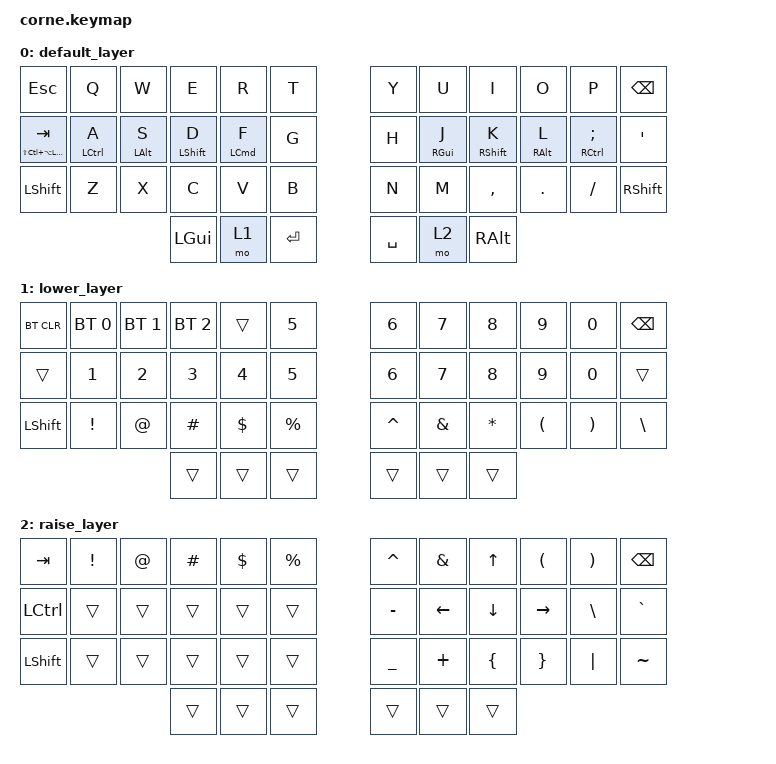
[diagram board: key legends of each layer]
/*
 * Copyright (c) 2020 The ZMK Contributors
 *
 * SPDX-License-Identifier: MIT
 */

#include <behaviors.dtsi>
#include <dt-bindings/zmk/bt.h>
#include <dt-bindings/zmk/keys.h>

// Define key positions

#define LEFT_KEYS 0 1 2 3 4 5 12 13 14 15 16 17 22 24 25 26 27 28 29   // left-hand keys
#define RIGHT_KEYS 6 7 8 9 10 11 18 19 20 21 22 23 30 31 32 33 34 35  // right-hand keys
#define THUMBS 36 37 38 39 40 41                                       // thumb keys

/ {
    behaviors {
        hml: left_home_row_mods {
            compatible = "zmk,behavior-hold-tap";
            label = "LEFT_HOME_ROW_MODS";
            #binding-cells = <2>;
            flavor = "balanced";
            tapping-term-ms = <280>;
            quick-tap-ms = <175>;
            require-prior-idle-ms = <220>;
            bindings = <&kp>, <&kp>;

            hold-trigger-key-positions = <RIGHT_KEYS THUMBS>;
            hold-trigger-on-release;
        };

        hmr: right_home_row_mods {
            compatible = "zmk,behavior-hold-tap";
            label = "RIGHT_HOME_ROW_MODS";
            #binding-cells = <2>;
            flavor = "balanced";
            tapping-term-ms = <280>;
            quick-tap-ms = <175>;
            require-prior-idle-ms = <220>;
            bindings = <&kp>, <&kp>;

            hold-trigger-key-positions = <LEFT_KEYS THUMBS>;
            hold-trigger-on-release;
        };

        ht_hyper: hold_tap_hyper {
            compatible = "zmk,behavior-hold-tap";
            label = "HOLD_TAP_HYPER";
            #binding-cells = <2>;
            flavor = "balanced";
            tapping-term-ms = <200>;
            quick-tap-ms = <150>;
            bindings = <&kp>, <&kp>;
        };
    };

    keymap {
        compatible = "zmk,keymap";

        default_layer {
            // -----------------------------------------------------------------------------------------
            // |  TAB |  Q  |  W  |  E  |  R  |  T  |   |  Y  |  U   |  I  |  O  |  P  | BSPC |
            // | CTRL |  A  |  S  |  D  |  F  |  G  |   |  H  |  J   |  K  |  L  |  ;  |  '   |
            // | SHFT |  Z  |  X  |  C  |  V  |  B  |   |  N  |  M   |  ,  |  .  |  /  | ESC  |
            //                    | GUI | LWR | SPC |   | ENT | RSE  | ALT |

            bindings = <
&kp ESC                         &kp Q         &kp W        &kp E              &kp R        &kp T        &kp Y      &kp U             &kp I               &kp O        &kp P                 &kp BSPC
&ht_hyper LS(LC(LA(LGUI))) TAB  &hml LCTRL A  &hml LALT S  &hml LEFT_SHIFT D  &hml LCMD F  &kp G        &kp H      &hmr RIGHT_GUI J  &hmr RIGHT_SHIFT K  &hmr RALT L  &hmr RCTRL SEMICOLON  &kp SQT
&kp LSHFT                       &kp Z         &kp X        &kp C              &kp V        &kp B        &kp N      &kp M             &kp COMMA           &kp DOT      &kp FSLH              &kp RIGHT_SHIFT
                                                           &kp LGUI           &mo 1        &kp ENTER    &kp SPACE  &mo 2             &kp RALT
            >;
        };

        lower_layer {
            // -----------------------------------------------------------------------------------------
            // |  TAB |  1  |  2  |  3  |  4  |  5  |   |  6  |  7  |  8  |  9  |  0  | BSPC |
            // | BTCLR| BT1 | BT2 | BT3 | BT4 | BT5 |   | LFT | DWN |  UP | RGT |     |      |
            // | SHFT |     |     |     |     |     |   |     |     |     |     |     |      |
            //                    | GUI |     | SPC |   | ENT |     | ALT |

            bindings = <
&bt BT_CLR  &bt BT_SEL 0     &bt BT_SEL 1  &bt BT_SEL 2  &trans        &kp N5         &kp N6        &kp N7         &kp N8        &kp N9                &kp N0                 &kp BSPC
&trans      &kp NUMBER_1     &kp NUMBER_2  &kp NUMBER_3  &kp NUMBER_4  &kp N5         &kp NUMBER_6  &kp N7         &kp NUMBER_8  &kp N9                &kp N0                 &trans
&kp LSHFT   &kp EXCLAMATION  &kp AT_SIGN   &kp HASH      &kp DOLLAR    &kp PERCENT    &kp CARET     &kp AMPERSAND  &kp ASTERISK  &kp LEFT_PARENTHESIS  &kp RIGHT_PARENTHESIS  &kp BACKSLASH
                                           &trans        &trans        &trans         &trans        &trans         &trans
            >;
        };

        raise_layer {
            // -----------------------------------------------------------------------------------------
            // |  TAB |  !  |  @  |  #  |  $  |  %  |   |  ^  |  &  |  *  |  (  |  )  | BSPC |
            // | CTRL |     |     |     |     |     |   |  -  |  =  |  [  |  ]  |  \  |  `   |
            // | SHFT |     |     |     |     |     |   |  _  |  +  |  {  |  }  | "|" |  ~   |
            //                    | GUI |     | SPC |   | ENT |     | ALT |

            bindings = <
&kp TAB    &kp EXCL  &kp AT  &kp HASH  &kp DLLR  &kp PRCNT    &kp CARET  &kp AMPS        &kp UP_ARROW    &kp LPAR         &kp RPAR  &kp BSPC
&kp LCTRL  &trans    &trans  &trans    &trans    &trans       &kp MINUS  &kp LEFT_ARROW  &kp DOWN_ARROW  &kp RIGHT_ARROW  &kp BSLH  &kp GRAVE
&kp LSHFT  &trans    &trans  &trans    &trans    &trans       &kp UNDER  &kp PLUS        &kp LBRC        &kp RBRC         &kp PIPE  &kp TILDE
                             &trans    &trans    &trans       &trans     &trans          &trans
            >;
        };
    };
};
